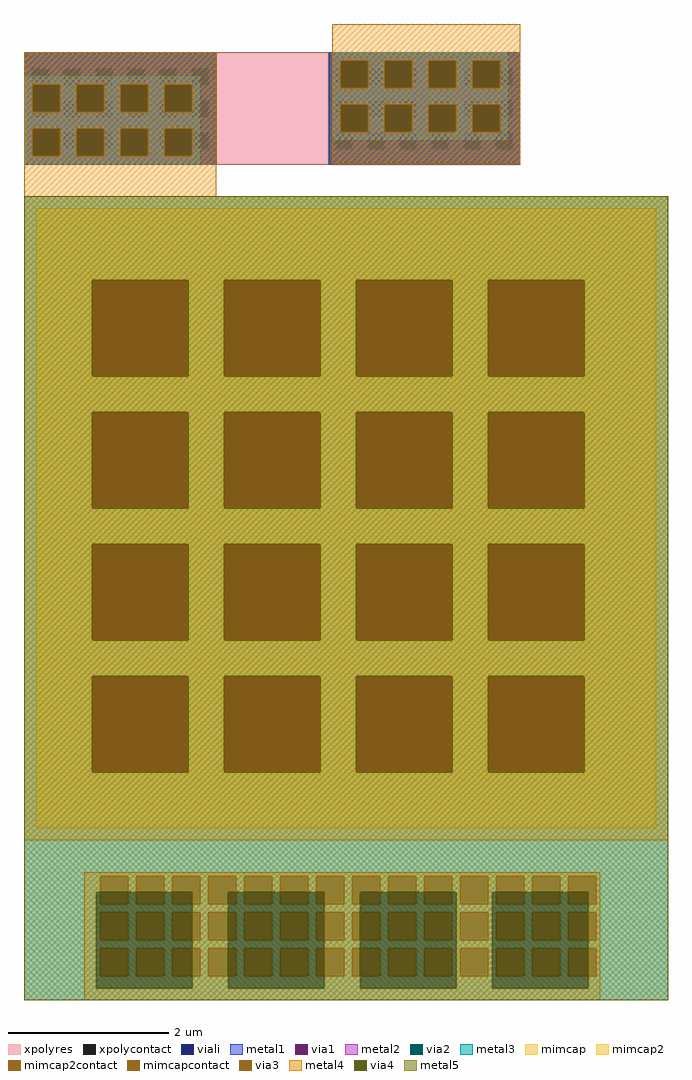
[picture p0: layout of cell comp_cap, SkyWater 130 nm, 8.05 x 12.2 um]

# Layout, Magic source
magic
tech sky130A
<< xpolycontact >>
rect -1480 1174 -1240 1315
rect -1099 1174 -860 1315
<< xpolyres >>
rect -1240 1174 -1099 1315
<< viali >>
rect -1470 1274 -1450 1294
rect -1430 1274 -1410 1294
rect -1390 1274 -1370 1294
rect -1350 1274 -1330 1294
rect -1310 1274 -1290 1294
rect -1270 1274 -1250 1294
rect -1470 1234 -1450 1254
rect -1430 1234 -1410 1254
rect -1390 1234 -1370 1254
rect -1350 1234 -1330 1254
rect -1310 1234 -1290 1254
rect -1270 1234 -1250 1254
rect -1470 1194 -1450 1214
rect -1430 1194 -1410 1214
rect -1390 1194 -1370 1214
rect -1350 1194 -1330 1214
rect -1310 1194 -1290 1214
rect -1270 1194 -1250 1214
rect -1090 1274 -1070 1294
rect -1050 1274 -1030 1294
rect -1010 1274 -990 1294
rect -970 1274 -950 1294
rect -930 1274 -910 1294
rect -890 1274 -870 1294
rect -1090 1234 -1070 1254
rect -1050 1234 -1030 1254
rect -1010 1234 -990 1254
rect -970 1234 -950 1254
rect -930 1234 -910 1254
rect -890 1234 -870 1254
rect -1090 1194 -1070 1214
rect -1050 1194 -1030 1214
rect -1010 1194 -990 1214
rect -970 1194 -950 1214
rect -930 1194 -910 1214
rect -890 1194 -870 1214
<< metal1 >>
rect -1480 1294 -1240 1315
rect -1480 1234 -1470 1294
rect -1450 1275 -1430 1294
rect -1410 1275 -1390 1294
rect -1370 1275 -1350 1294
rect -1330 1275 -1310 1294
rect -1290 1275 -1270 1294
rect -1435 1274 -1430 1275
rect -1370 1274 -1360 1275
rect -1325 1274 -1310 1275
rect -1250 1274 -1240 1294
rect -1435 1254 -1415 1274
rect -1380 1254 -1360 1274
rect -1325 1254 -1305 1274
rect -1270 1254 -1240 1274
rect -1435 1240 -1430 1254
rect -1370 1240 -1360 1254
rect -1325 1240 -1310 1254
rect -1450 1234 -1430 1240
rect -1410 1234 -1390 1240
rect -1370 1234 -1350 1240
rect -1330 1234 -1310 1240
rect -1290 1234 -1270 1240
rect -1250 1234 -1240 1254
rect -1480 1220 -1240 1234
rect -1480 1185 -1470 1220
rect -1435 1214 -1415 1220
rect -1380 1214 -1360 1220
rect -1325 1214 -1305 1220
rect -1270 1214 -1240 1220
rect -1435 1194 -1430 1214
rect -1370 1194 -1360 1214
rect -1325 1194 -1310 1214
rect -1250 1194 -1240 1214
rect -1435 1185 -1415 1194
rect -1380 1185 -1360 1194
rect -1325 1185 -1305 1194
rect -1270 1185 -1240 1194
rect -1480 1174 -1240 1185
rect -1099 1305 -860 1315
rect -1099 1294 -1085 1305
rect -1050 1294 -1030 1305
rect -995 1294 -975 1305
rect -940 1294 -920 1305
rect -885 1294 -860 1305
rect -1099 1274 -1090 1294
rect -990 1274 -975 1294
rect -940 1274 -930 1294
rect -870 1274 -860 1294
rect -1099 1270 -1085 1274
rect -1050 1270 -1030 1274
rect -995 1270 -975 1274
rect -940 1270 -920 1274
rect -885 1270 -860 1274
rect -1099 1254 -860 1270
rect -1099 1234 -1090 1254
rect -1070 1250 -1050 1254
rect -1030 1250 -1010 1254
rect -990 1250 -970 1254
rect -950 1250 -930 1254
rect -910 1250 -890 1254
rect -990 1234 -975 1250
rect -940 1234 -930 1250
rect -870 1234 -860 1254
rect -1099 1215 -1085 1234
rect -1050 1215 -1030 1234
rect -995 1215 -975 1234
rect -940 1215 -920 1234
rect -885 1215 -860 1234
rect -1099 1214 -860 1215
rect -1099 1194 -1090 1214
rect -1070 1194 -1050 1214
rect -1030 1194 -1010 1214
rect -990 1194 -970 1214
rect -950 1194 -930 1214
rect -910 1194 -890 1214
rect -870 1194 -860 1214
rect -1099 1174 -860 1194
<< via1 >>
rect -1470 1274 -1450 1275
rect -1450 1274 -1435 1275
rect -1415 1274 -1410 1275
rect -1410 1274 -1390 1275
rect -1390 1274 -1380 1275
rect -1360 1274 -1350 1275
rect -1350 1274 -1330 1275
rect -1330 1274 -1325 1275
rect -1305 1274 -1290 1275
rect -1290 1274 -1270 1275
rect -1470 1254 -1435 1274
rect -1415 1254 -1380 1274
rect -1360 1254 -1325 1274
rect -1305 1254 -1270 1274
rect -1470 1240 -1450 1254
rect -1450 1240 -1435 1254
rect -1415 1240 -1410 1254
rect -1410 1240 -1390 1254
rect -1390 1240 -1380 1254
rect -1360 1240 -1350 1254
rect -1350 1240 -1330 1254
rect -1330 1240 -1325 1254
rect -1305 1240 -1290 1254
rect -1290 1240 -1270 1254
rect -1470 1214 -1435 1220
rect -1415 1214 -1380 1220
rect -1360 1214 -1325 1220
rect -1305 1214 -1270 1220
rect -1470 1194 -1450 1214
rect -1450 1194 -1435 1214
rect -1415 1194 -1410 1214
rect -1410 1194 -1390 1214
rect -1390 1194 -1380 1214
rect -1360 1194 -1350 1214
rect -1350 1194 -1330 1214
rect -1330 1194 -1325 1214
rect -1305 1194 -1290 1214
rect -1290 1194 -1270 1214
rect -1470 1185 -1435 1194
rect -1415 1185 -1380 1194
rect -1360 1185 -1325 1194
rect -1305 1185 -1270 1194
rect -1085 1294 -1050 1305
rect -1030 1294 -995 1305
rect -975 1294 -940 1305
rect -920 1294 -885 1305
rect -1085 1274 -1070 1294
rect -1070 1274 -1050 1294
rect -1030 1274 -1010 1294
rect -1010 1274 -995 1294
rect -975 1274 -970 1294
rect -970 1274 -950 1294
rect -950 1274 -940 1294
rect -920 1274 -910 1294
rect -910 1274 -890 1294
rect -890 1274 -885 1294
rect -1085 1270 -1050 1274
rect -1030 1270 -995 1274
rect -975 1270 -940 1274
rect -920 1270 -885 1274
rect -1085 1234 -1070 1250
rect -1070 1234 -1050 1250
rect -1030 1234 -1010 1250
rect -1010 1234 -995 1250
rect -975 1234 -970 1250
rect -970 1234 -950 1250
rect -950 1234 -940 1250
rect -920 1234 -910 1250
rect -910 1234 -890 1250
rect -890 1234 -885 1250
rect -1085 1215 -1050 1234
rect -1030 1215 -995 1234
rect -975 1215 -940 1234
rect -920 1215 -885 1234
<< metal2 >>
rect -1095 1305 -875 1315
rect -1480 1275 -1260 1285
rect -1480 1240 -1470 1275
rect -1435 1240 -1415 1275
rect -1380 1240 -1360 1275
rect -1325 1240 -1305 1275
rect -1270 1240 -1260 1275
rect -1480 1220 -1260 1240
rect -1480 1185 -1470 1220
rect -1435 1185 -1415 1220
rect -1380 1185 -1360 1220
rect -1325 1185 -1305 1220
rect -1270 1185 -1260 1220
rect -1095 1270 -1085 1305
rect -1050 1270 -1030 1305
rect -995 1270 -975 1305
rect -940 1270 -920 1305
rect -885 1270 -875 1305
rect -1095 1250 -875 1270
rect -1095 1215 -1085 1250
rect -1050 1215 -1030 1250
rect -995 1215 -975 1250
rect -940 1215 -920 1250
rect -885 1215 -875 1250
rect -1095 1205 -875 1215
rect -1480 1175 -1260 1185
<< via2 >>
rect -1470 1240 -1435 1275
rect -1415 1240 -1380 1275
rect -1360 1240 -1325 1275
rect -1305 1240 -1270 1275
rect -1470 1185 -1435 1220
rect -1415 1185 -1380 1220
rect -1360 1185 -1325 1220
rect -1305 1185 -1270 1220
rect -1085 1270 -1050 1305
rect -1030 1270 -995 1305
rect -975 1270 -940 1305
rect -920 1270 -885 1305
rect -1085 1215 -1050 1250
rect -1030 1215 -995 1250
rect -975 1215 -940 1250
rect -920 1215 -885 1250
<< metal3 >>
rect -1095 1305 -875 1315
rect -1480 1275 -1260 1285
rect -1480 1240 -1470 1275
rect -1435 1240 -1415 1275
rect -1380 1240 -1360 1275
rect -1325 1240 -1305 1275
rect -1270 1240 -1260 1275
rect -1480 1220 -1260 1240
rect -1480 1185 -1470 1220
rect -1435 1185 -1415 1220
rect -1380 1185 -1360 1220
rect -1325 1185 -1305 1220
rect -1270 1185 -1260 1220
rect -1095 1270 -1085 1305
rect -1050 1270 -1030 1305
rect -995 1270 -975 1305
rect -940 1270 -920 1305
rect -885 1270 -875 1305
rect -1095 1250 -875 1270
rect -1095 1215 -1085 1250
rect -1050 1215 -1030 1250
rect -995 1215 -975 1250
rect -940 1215 -920 1250
rect -885 1215 -875 1250
rect -1095 1205 -875 1215
rect -1480 1175 -1260 1185
rect -1480 285 -675 1135
rect -1480 250 -1385 285
rect -1350 250 -1340 285
rect -1305 250 -1295 285
rect -1260 250 -1250 285
rect -1215 250 -1205 285
rect -1170 250 -1160 285
rect -1125 250 -1115 285
rect -1080 250 -1070 285
rect -1035 250 -1025 285
rect -990 250 -980 285
rect -945 250 -935 285
rect -900 250 -890 285
rect -855 250 -845 285
rect -810 250 -800 285
rect -765 250 -675 285
rect -1480 240 -675 250
rect -1480 205 -1385 240
rect -1350 205 -1340 240
rect -1305 205 -1295 240
rect -1260 205 -1250 240
rect -1215 205 -1205 240
rect -1170 205 -1160 240
rect -1125 205 -1115 240
rect -1080 205 -1070 240
rect -1035 205 -1025 240
rect -990 205 -980 240
rect -945 205 -935 240
rect -900 205 -890 240
rect -855 205 -845 240
rect -810 205 -800 240
rect -765 205 -675 240
rect -1480 195 -675 205
rect -1480 160 -1385 195
rect -1350 160 -1340 195
rect -1305 160 -1295 195
rect -1260 160 -1250 195
rect -1215 160 -1205 195
rect -1170 160 -1160 195
rect -1125 160 -1115 195
rect -1080 160 -1070 195
rect -1035 160 -1025 195
rect -990 160 -980 195
rect -945 160 -935 195
rect -900 160 -890 195
rect -855 160 -845 195
rect -810 160 -800 195
rect -765 160 -675 195
rect -1480 130 -675 160
<< via3 >>
rect -1470 1240 -1435 1275
rect -1415 1240 -1380 1275
rect -1360 1240 -1325 1275
rect -1305 1240 -1270 1275
rect -1470 1185 -1435 1220
rect -1415 1185 -1380 1220
rect -1360 1185 -1325 1220
rect -1305 1185 -1270 1220
rect -1085 1270 -1050 1305
rect -1030 1270 -995 1305
rect -975 1270 -940 1305
rect -920 1270 -885 1305
rect -1085 1215 -1050 1250
rect -1030 1215 -995 1250
rect -975 1215 -940 1250
rect -920 1215 -885 1250
rect -1385 250 -1350 285
rect -1340 250 -1305 285
rect -1295 250 -1260 285
rect -1250 250 -1215 285
rect -1205 250 -1170 285
rect -1160 250 -1125 285
rect -1115 250 -1080 285
rect -1070 250 -1035 285
rect -1025 250 -990 285
rect -980 250 -945 285
rect -935 250 -900 285
rect -890 250 -855 285
rect -845 250 -810 285
rect -800 250 -765 285
rect -1385 205 -1350 240
rect -1340 205 -1305 240
rect -1295 205 -1260 240
rect -1250 205 -1215 240
rect -1205 205 -1170 240
rect -1160 205 -1125 240
rect -1115 205 -1080 240
rect -1070 205 -1035 240
rect -1025 205 -990 240
rect -980 205 -945 240
rect -935 205 -900 240
rect -890 205 -855 240
rect -845 205 -810 240
rect -800 205 -765 240
rect -1385 160 -1350 195
rect -1340 160 -1305 195
rect -1295 160 -1260 195
rect -1250 160 -1215 195
rect -1205 160 -1170 195
rect -1160 160 -1125 195
rect -1115 160 -1080 195
rect -1070 160 -1035 195
rect -1025 160 -990 195
rect -980 160 -945 195
rect -935 160 -900 195
rect -890 160 -855 195
rect -845 160 -810 195
rect -800 160 -765 195
<< mimcap >>
rect -1465 1030 -690 1120
rect -1465 910 -1395 1030
rect -1275 910 -1230 1030
rect -1110 910 -1065 1030
rect -945 910 -900 1030
rect -780 910 -690 1030
rect -1465 865 -690 910
rect -1465 745 -1395 865
rect -1275 745 -1230 865
rect -1110 745 -1065 865
rect -945 745 -900 865
rect -780 745 -690 865
rect -1465 700 -690 745
rect -1465 580 -1395 700
rect -1275 580 -1230 700
rect -1110 580 -1065 700
rect -945 580 -900 700
rect -780 580 -690 700
rect -1465 535 -690 580
rect -1465 415 -1395 535
rect -1275 415 -1230 535
rect -1110 415 -1065 535
rect -945 415 -900 535
rect -780 415 -690 535
rect -1465 345 -690 415
<< mimcapcontact >>
rect -1395 910 -1275 1030
rect -1230 910 -1110 1030
rect -1065 910 -945 1030
rect -900 910 -780 1030
rect -1395 745 -1275 865
rect -1230 745 -1110 865
rect -1065 745 -945 865
rect -900 745 -780 865
rect -1395 580 -1275 700
rect -1230 580 -1110 700
rect -1065 580 -945 700
rect -900 580 -780 700
rect -1395 415 -1275 535
rect -1230 415 -1110 535
rect -1065 415 -945 535
rect -900 415 -780 535
<< metal4 >>
rect -1480 1275 -1240 1315
rect -1480 1240 -1470 1275
rect -1435 1240 -1415 1275
rect -1380 1240 -1360 1275
rect -1325 1240 -1305 1275
rect -1270 1240 -1240 1275
rect -1480 1220 -1240 1240
rect -1480 1185 -1470 1220
rect -1435 1185 -1415 1220
rect -1380 1185 -1360 1220
rect -1325 1185 -1305 1220
rect -1270 1185 -1240 1220
rect -1480 1135 -1240 1185
rect -1095 1305 -860 1350
rect -1095 1270 -1085 1305
rect -1050 1270 -1030 1305
rect -995 1270 -975 1305
rect -940 1270 -920 1305
rect -885 1270 -860 1305
rect -1095 1250 -860 1270
rect -1095 1215 -1085 1250
rect -1050 1215 -1030 1250
rect -995 1215 -975 1250
rect -940 1215 -920 1250
rect -885 1215 -860 1250
rect -1095 1175 -860 1215
rect -1480 1030 -675 1135
rect -1480 910 -1395 1030
rect -1275 910 -1230 1030
rect -1110 910 -1065 1030
rect -945 910 -900 1030
rect -780 910 -675 1030
rect -1480 865 -675 910
rect -1480 745 -1395 865
rect -1275 745 -1230 865
rect -1110 745 -1065 865
rect -945 745 -900 865
rect -780 745 -675 865
rect -1480 700 -675 745
rect -1480 580 -1395 700
rect -1275 580 -1230 700
rect -1110 580 -1065 700
rect -945 580 -900 700
rect -780 580 -675 700
rect -1480 535 -675 580
rect -1480 415 -1395 535
rect -1275 415 -1230 535
rect -1110 415 -1065 535
rect -945 415 -900 535
rect -780 415 -675 535
rect -1480 330 -675 415
rect -1405 285 -760 290
rect -1405 265 -1385 285
rect -1350 265 -1340 285
rect -1305 265 -1295 285
rect -1405 145 -1390 265
rect -1260 250 -1250 285
rect -1215 265 -1205 285
rect -1170 265 -1160 285
rect -1125 265 -1115 285
rect -1080 250 -1070 285
rect -1035 265 -1025 285
rect -990 265 -980 285
rect -945 265 -935 285
rect -940 250 -935 265
rect -900 265 -890 285
rect -855 265 -845 285
rect -810 265 -800 285
rect -900 250 -895 265
rect -765 250 -760 285
rect -1270 240 -1225 250
rect -1105 240 -1060 250
rect -940 240 -895 250
rect -775 240 -760 250
rect -1260 205 -1250 240
rect -1080 205 -1070 240
rect -940 205 -935 240
rect -900 205 -895 240
rect -765 205 -760 240
rect -1270 195 -1225 205
rect -1105 195 -1060 205
rect -940 195 -895 205
rect -775 195 -760 205
rect -1260 160 -1250 195
rect -1080 160 -1070 195
rect -940 160 -935 195
rect -900 160 -895 195
rect -765 160 -760 195
rect -1270 145 -1225 160
rect -1105 145 -1060 160
rect -940 145 -895 160
rect -775 145 -760 160
rect -1405 130 -760 145
<< via4 >>
rect -1390 250 -1385 265
rect -1385 250 -1350 265
rect -1350 250 -1340 265
rect -1340 250 -1305 265
rect -1305 250 -1295 265
rect -1295 250 -1270 265
rect -1225 250 -1215 265
rect -1215 250 -1205 265
rect -1205 250 -1170 265
rect -1170 250 -1160 265
rect -1160 250 -1125 265
rect -1125 250 -1115 265
rect -1115 250 -1105 265
rect -1060 250 -1035 265
rect -1035 250 -1025 265
rect -1025 250 -990 265
rect -990 250 -980 265
rect -980 250 -945 265
rect -945 250 -940 265
rect -895 250 -890 265
rect -890 250 -855 265
rect -855 250 -845 265
rect -845 250 -810 265
rect -810 250 -800 265
rect -800 250 -775 265
rect -1390 240 -1270 250
rect -1225 240 -1105 250
rect -1060 240 -940 250
rect -895 240 -775 250
rect -1390 205 -1385 240
rect -1385 205 -1350 240
rect -1350 205 -1340 240
rect -1340 205 -1305 240
rect -1305 205 -1295 240
rect -1295 205 -1270 240
rect -1225 205 -1215 240
rect -1215 205 -1205 240
rect -1205 205 -1170 240
rect -1170 205 -1160 240
rect -1160 205 -1125 240
rect -1125 205 -1115 240
rect -1115 205 -1105 240
rect -1060 205 -1035 240
rect -1035 205 -1025 240
rect -1025 205 -990 240
rect -990 205 -980 240
rect -980 205 -945 240
rect -945 205 -940 240
rect -895 205 -890 240
rect -890 205 -855 240
rect -855 205 -845 240
rect -845 205 -810 240
rect -810 205 -800 240
rect -800 205 -775 240
rect -1390 195 -1270 205
rect -1225 195 -1105 205
rect -1060 195 -940 205
rect -895 195 -775 205
rect -1390 160 -1385 195
rect -1385 160 -1350 195
rect -1350 160 -1340 195
rect -1340 160 -1305 195
rect -1305 160 -1295 195
rect -1295 160 -1270 195
rect -1225 160 -1215 195
rect -1215 160 -1205 195
rect -1205 160 -1170 195
rect -1170 160 -1160 195
rect -1160 160 -1125 195
rect -1125 160 -1115 195
rect -1115 160 -1105 195
rect -1060 160 -1035 195
rect -1035 160 -1025 195
rect -1025 160 -990 195
rect -990 160 -980 195
rect -980 160 -945 195
rect -945 160 -940 195
rect -895 160 -890 195
rect -890 160 -855 195
rect -855 160 -845 195
rect -845 160 -810 195
rect -810 160 -800 195
rect -800 160 -775 195
rect -1390 145 -1270 160
rect -1225 145 -1105 160
rect -1060 145 -940 160
rect -895 145 -775 160
<< mimcap2 >>
rect -1465 1030 -690 1120
rect -1465 910 -1395 1030
rect -1275 910 -1230 1030
rect -1110 910 -1065 1030
rect -945 910 -900 1030
rect -780 910 -690 1030
rect -1465 865 -690 910
rect -1465 745 -1395 865
rect -1275 745 -1230 865
rect -1110 745 -1065 865
rect -945 745 -900 865
rect -780 745 -690 865
rect -1465 700 -690 745
rect -1465 580 -1395 700
rect -1275 580 -1230 700
rect -1110 580 -1065 700
rect -945 580 -900 700
rect -780 580 -690 700
rect -1465 535 -690 580
rect -1465 415 -1395 535
rect -1275 415 -1230 535
rect -1110 415 -1065 535
rect -945 415 -900 535
rect -780 415 -690 535
rect -1465 345 -690 415
<< mimcap2contact >>
rect -1395 910 -1275 1030
rect -1230 910 -1110 1030
rect -1065 910 -945 1030
rect -900 910 -780 1030
rect -1395 745 -1275 865
rect -1230 745 -1110 865
rect -1065 745 -945 865
rect -900 745 -780 865
rect -1395 580 -1275 700
rect -1230 580 -1110 700
rect -1065 580 -945 700
rect -900 580 -780 700
rect -1395 415 -1275 535
rect -1230 415 -1110 535
rect -1065 415 -945 535
rect -900 415 -780 535
<< metal5 >>
rect -1480 1030 -675 1135
rect -1480 910 -1395 1030
rect -1275 910 -1230 1030
rect -1110 910 -1065 1030
rect -945 910 -900 1030
rect -780 910 -675 1030
rect -1480 865 -675 910
rect -1480 745 -1395 865
rect -1275 745 -1230 865
rect -1110 745 -1065 865
rect -945 745 -900 865
rect -780 745 -675 865
rect -1480 700 -675 745
rect -1480 580 -1395 700
rect -1275 580 -1230 700
rect -1110 580 -1065 700
rect -945 580 -900 700
rect -780 580 -675 700
rect -1480 535 -675 580
rect -1480 415 -1395 535
rect -1275 415 -1230 535
rect -1110 415 -1065 535
rect -945 415 -900 535
rect -780 415 -675 535
rect -1480 265 -675 415
rect -1480 145 -1390 265
rect -1270 145 -1225 265
rect -1105 145 -1060 265
rect -940 145 -895 265
rect -775 145 -675 265
rect -1480 130 -675 145
<< end >>
